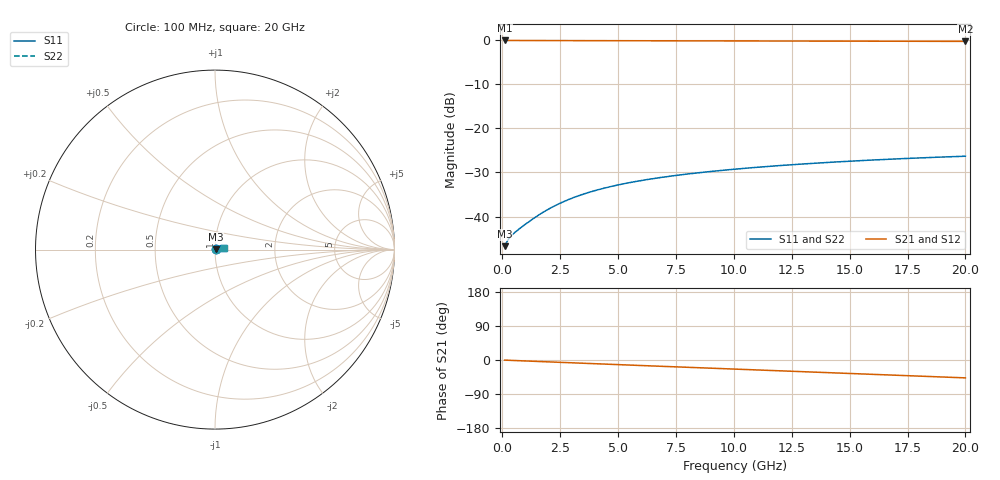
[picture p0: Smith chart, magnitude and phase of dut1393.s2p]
! Touchstone file exported from HFSS 2026.1.0
!  File:  C:/ffzhzh/LocalFiles/Ansys_Project_Files/temp_train_BSMRDL_1393_1783179739_18472.aedt
!  Generated:  11:43:25 PM Jul  4, 2026
!  Design:  BSMRDL
!  Project:  temp_train_BSMRDL_1393_1783179739_18472
! Variables:
!  h_bsmrdl = 5.82um
!  h_ox = 20um
!  h_rdl = 5um
!  h_sub = 80um
!  h_tmrdl = 5um
!  h_tsv = 80um
!  h_via = 3um
!  l_bsmrdl = 869.67um
!  l_sub = 1269.67um
!  l_tmrdl = 200um
!  m_sub = 200um
!  pitch = 17.26um
!  r_tsv = 6um
!  s_tmrdl = 10um
!  w_bsmrdl = 12.15um
!  w_sub = 500um
!  w_tmrdl = 12um
!  x_tsv_center1 = 206um
!  x_tsv_center2 = 1087.82um
!  x_tsv_center3 = 1299.82um
!  x_tsv_center4 = 2181.64um
!  x_tsv_center5 = 2393.64um
!  x_tsv_center6 = 3275.46um
# GHz S MA R 50.000000
! Terminal data exported
! Port[1] = BSM_RDL1_1_T1
! Port[2] = BSM_RDL1_1_T2
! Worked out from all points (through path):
!   200 points, 100 MHz to 20 GHz, reference 50 ohm
!   highest |S21| = -0.04 dB at 100 MHz (marker M1); lowest = -0.2 dB at 20 GHz (marker M2)
!   group delay of S21, straight-line fit = 6.51 ps
!   lowest |S11| = -46.7 dB at 100 MHz (marker M3), VSWR 1.01, Z = 50.5 + j0.0993 ohm
!   |S11| at or under -10 dB: start of sweep to end of sweep
!   |S22| runs from -46.7 to -26.2 dB; largest |S21 - S12| = 5.3e-15
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0.1  0.004609 12.3  0.9955 -0.3  0.9955 -0.3  0.004609 12.3
! Gamma 0 0 0 0
! Port Impedance 50 0 50 0
0.2  0.005177 19.2  0.9951 -0.5  0.9951 -0.5  0.00518 19.5
0.3  0.005686 22.8  0.9948 -0.8  0.9948 -0.8  0.005715 23.3
0.4  0.006099 25.5  0.9945 -1.1  0.9945 -1.1  0.006155 25.8
0.5  0.006457 27.9  0.9942 -1.3  0.9942 -1.3  0.006531 28.0
0.7  0.007126 32.2  0.9939 -1.8  0.9939 -1.8  0.007213 32.1
0.9  0.007815 36.1  0.9937 -2.3  0.9937 -2.3  0.007895 35.7
1.4  0.009708 42.9  0.9931 -3.5  0.9931 -3.5  0.009748 42.4
1.9  0.01174 46.3  0.9924 -4.7  0.9924 -4.7  0.01174 45.9
2.4  0.01377 47.7  0.9917 -6.0  0.9917 -6.0  0.01376 47.4
2.9  0.01573 48.0  0.9909 -7.2  0.9909 -7.2  0.01572 47.8
3.5  0.01796 47.5  0.9898 -8.6  0.9898 -8.6  0.01795 47.3
4.2  0.02035 46.2  0.9886 -10.3  0.9886 -10.3  0.02037 46.1
5  0.02283 44.5  0.9872 -12.2  0.9872 -12.2  0.02287 44.3
5.8  0.02508 42.7  0.9859 -14.1  0.9859 -14.1  0.02514 42.5
6.8  0.02762 40.4  0.9844 -16.5  0.9844 -16.5  0.02771 40.1
8.3  0.03101 37.1  0.9824 -20.0  0.9824 -20.0  0.03113 36.7
10.1  0.03457 33.3  0.9803 -24.2  0.9803 -24.2  0.03474 32.7
11.7  0.0374 30.0  0.9786 -27.9  0.9786 -27.9  0.03762 29.3
13.4  0.04012 26.5  0.9771 -31.9  0.9771 -31.9  0.0404 25.8
16.7  0.04468 19.9  0.9743 -39.5  0.9743 -39.5  0.04509 18.9
20  0.04835 13.2  0.9718 -47.2  0.9718 -47.2  0.0489 11.9
